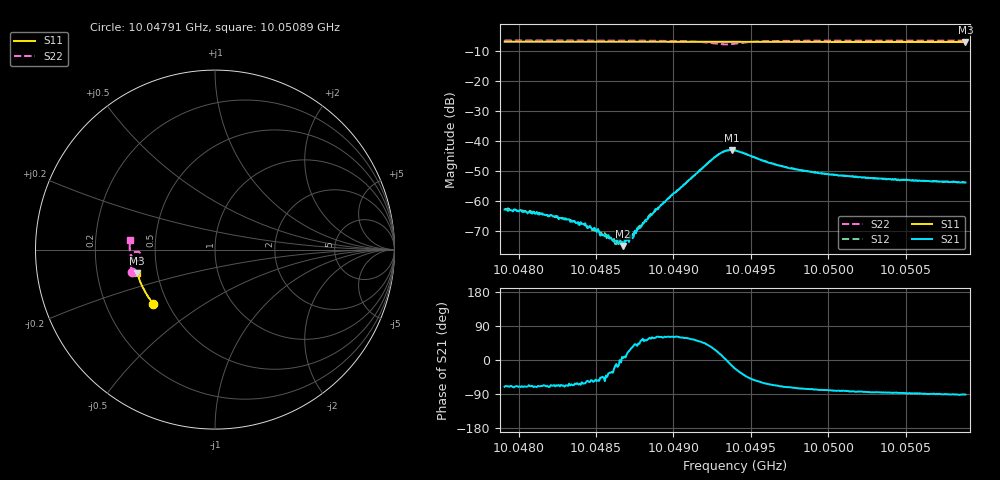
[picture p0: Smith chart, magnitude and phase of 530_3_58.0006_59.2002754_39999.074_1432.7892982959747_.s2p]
#  HZ  S  RI  R  50.00
! Rohde & Schwarz Vector Network Analyzer
! Rohde-Schwarz,ZNB20-2Port,1311601062101988,3.16
! Created: UTC 3/21/2024, 1:14:04 AM
! freq[Hz]  re:S11  im:S11  re:S21  im:S21  re:S12  im:S12  re:S22  im:S22
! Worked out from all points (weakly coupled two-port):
!   401 points, 10.04791 GHz to 10.05089 GHz, reference 50 ohm
!   highest |S21| = -43.07 dB at 10.04938 GHz (marker M1); lowest = -75.1 dB at 10.04868 GHz (marker M2)
!   lowest |S11| = -6.9 dB at 10.05089 GHz (marker M3), VSWR 2.65, Z = 19.2 - j6.26 ohm
!   |S11| at or under -10 dB: nowhere
!   |S22| runs from -7.7 to -6.4 dB; largest |S21 - S12| = 0.00052
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1.0047909e10  -0.3441 -0.3012  0.000238 -0.000671  0.000289 -0.000668  -0.4615 -0.1245
1.0048088e10  -0.3513 -0.292  0.000225 -0.000566  0.000291 -0.000579  -0.4643 -0.1123
1.0048237e10  -0.3574 -0.2843  0.000192 -0.000518  0.000235 -0.000472  -0.4663 -0.1021
1.0048408e10  -0.3641 -0.2754  0.000212 -0.000349  0.000201 -0.00035  -0.4682 -0.0896
1.0048505e10  -0.3676 -0.2699  0.00017 -0.000247  0.000196 -0.000261  -0.4689 -0.0821
1.0048549e10  -0.3693 -0.2675  0.000186 -0.000192  0.000195 -0.00016  -0.4693 -0.0785
1.0048579e10  -0.3704 -0.266  0.000215 -0.000156  0.000205 -0.000148  -0.4695 -0.0764
1.0048601e10  -0.3713 -0.2648  0.000193 -0.000118  0.000213 -9.38e-05  -0.4696 -0.0746
1.0048616e10  -0.3718 -0.2638  0.000189 -8.07e-05  0.000211 -8.96e-05  -0.4697 -0.0734
1.0048661e10  -0.3735 -0.2615  0.000205 -2.38e-05  0.00019 1.81e-05  -0.4699 -0.0697
1.0048676e10  -0.374 -0.2607  0.000174 1.61e-05  0.000208 2.98e-05  -0.4699 -0.0686
1.0048728e10  -0.3759 -0.2577  0.000207 0.000127  0.000207 0.000143  -0.4699 -0.064
1.0048765e10  -0.3773 -0.2557  0.000274 0.000209  0.000238 0.000218  -0.4699 -0.061
1.0048906e10  -0.382 -0.2478  0.000376 0.000674  0.000352 0.000733  -0.469 -0.0475
1.0049263e10  -0.3933 -0.2272  0.00464 0.00248  0.00447 0.00281  -0.4273 -0.0126
1.0049323e10  -0.3949 -0.2238  0.00657 0.000819  0.00649 0.00126  -0.4111 -0.0276
1.0049375e10  -0.3964 -0.2211  0.00681 -0.00171  0.00693 -0.00128  -0.4124 -0.0491
1.0049397e10  -0.3971 -0.2199  0.00636 -0.00264  0.00659 -0.00222  -0.4177 -0.0558
1.0049665e10  -0.4056 -0.2044  0.00152 -0.00367  0.00174 -0.00359  -0.4667 -0.0419
1.0049896e10  -0.4118 -0.1906  0.000687 -0.00294  0.000863 -0.0029  -0.4736 -0.0184
1.0050394e10  -0.4238 -0.1602  0.000155 -0.0023  0.000284 -0.00229  -0.4753 0.021
1.0050885e10  -0.4332 -0.1296  -4.33e-05 -0.00201  5.65e-05 -0.00205  -0.4726 0.0556
